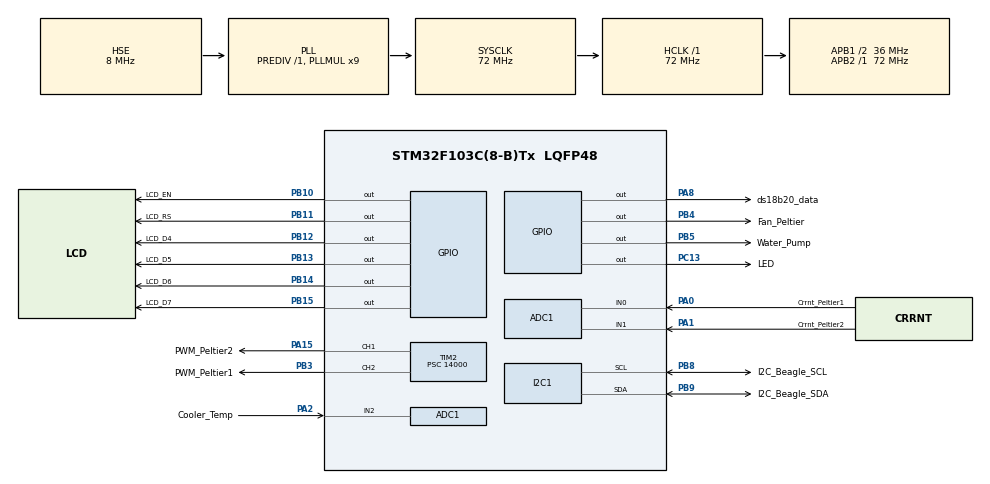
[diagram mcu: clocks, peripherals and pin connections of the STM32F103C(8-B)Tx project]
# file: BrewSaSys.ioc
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ADC1.Channel-2\#ChannelRegularConversion=ADC_CHANNEL_0
ADC1.Channel-3\#ChannelRegularConversion=ADC_CHANNEL_1
ADC1.Channel-4\#ChannelRegularConversion=ADC_CHANNEL_2
ADC1.ContinuousConvMode=ENABLE
ADC1.DataAlign=ADC_DATAALIGN_RIGHT
ADC1.EnableAnalogWatchDog=false
ADC1.EnableRegularConversion=ENABLE
ADC1.ExternalTrigConv=ADC_SOFTWARE_START
ADC1.InjNumberOfConversion=0
ADC1.NbrOfConversion=3
ADC1.NbrOfConversionFlag=1
ADC1.Rank-2\#ChannelRegularConversion=1
ADC1.Rank-3\#ChannelRegularConversion=2
ADC1.Rank-4\#ChannelRegularConversion=3
ADC1.SamplingTime-2\#ChannelRegularConversion=ADC_SAMPLETIME_239CYCLES_5
ADC1.SamplingTime-3\#ChannelRegularConversion=ADC_SAMPLETIME_239CYCLES_5
ADC1.SamplingTime-4\#ChannelRegularConversion=ADC_SAMPLETIME_239CYCLES_5
ADC1.master=1
Dma.ADC1.0.Direction=DMA_PERIPH_TO_MEMORY
Dma.ADC1.0.Instance=DMA1_Channel1
Dma.ADC1.0.MemDataAlignment=DMA_MDATAALIGN_WORD
Dma.ADC1.0.MemInc=DMA_MINC_ENABLE
Dma.ADC1.0.Mode=DMA_CIRCULAR
Dma.ADC1.0.PeriphDataAlignment=DMA_PDATAALIGN_WORD
Dma.ADC1.0.PeriphInc=DMA_PINC_DISABLE
Dma.ADC1.0.Priority=DMA_PRIORITY_LOW
Dma.Request0=ADC1
FREERTOS.INCLUDE_vTaskDelayUntil=1
FREERTOS.MEMORY_ALLOCATION=1
FREERTOS.Tasks01=IdleTask,-3,128,StartIdleTask,Default,NULL,Static,defaultIdleTaskBuffer,defaultIdleTaskControlBlock;Task_2ms,-3,128,StartTask2ms,Default,NULL,Static,myTask2msBuffer,myTask2msControlBlock;Task_5ms,-3,128,StartTask5ms,Default,NULL,Static,myTask5msBuffer,myTask5msControlBlock;Task_10ms,-3,128,StartTask10ms,Default,NULL,Static,myTask10msBuffer,myTask10msControlBlock
Mcu.Family=STM32F1
Mcu.Name=STM32F103C(8-B)Tx
Mcu.Package=LQFP48
NVIC.ADC1_2_IRQn=true\:5\:0\:false\:false\:true\:true\:true\:true
NVIC.DMA1_Channel1_IRQn=true\:5\:0\:false\:false\:true\:true\:false\:true
NVIC.PriorityGroup=NVIC_PRIORITYGROUP_4
NVIC.TIM1_UP_IRQn=true\:0\:0\:false\:false\:true\:false\:false\:true
NVIC.TIM2_IRQn=true\:5\:0\:false\:false\:true\:true\:true\:true
NVIC.TimeBase=TIM1_UP_IRQn
NVIC.TimeBaseIP=TIM1
PA0-WKUP.GPIO_Label=Crrnt_Peltier1
PA0-WKUP.Signal=ADCx_IN0
PA1.GPIO_Label=Crrnt_Peltier2
PA1.Signal=ADCx_IN1
PA13.Mode=Serial_Wire
PA13.Signal=SYS_JTMS-SWDIO
PA14.Mode=Serial_Wire
PA14.Signal=SYS_JTCK-SWCLK
PA15.GPIO_Label=PWM_Peltier2
PA15.Signal=S_TIM2_CH1_ETR
PA2.GPIO_Label=Cooler_Temp
PA2.Signal=ADCx_IN2
PA8.GPIO_Label=ds18b20_data
PA8.GPIO_ModeDefaultOutputPP=GPIO_MODE_OUTPUT_OD
PA8.GPIO_Speed=GPIO_SPEED_FREQ_HIGH
PA8.PinState=GPIO_PIN_SET
PA8.Signal=GPIO_Output
PB10.GPIO_Label=LCD_EN
PB10.Signal=GPIO_Output
PB11.GPIO_Label=LCD_RS
PB11.Signal=GPIO_Output
PB12.GPIO_Label=LCD_D4
PB12.Signal=GPIO_Output
PB13.GPIO_Label=LCD_D5
PB13.Signal=GPIO_Output
PB14.GPIO_Label=LCD_D6
PB14.Signal=GPIO_Output
PB15.GPIO_Label=LCD_D7
PB15.Signal=GPIO_Output
PB3.GPIO_Label=PWM_Peltier1
PB3.Signal=S_TIM2_CH2
PB4.GPIO_Label=Fan_Peltier
PB4.Signal=GPIO_Output
PB5.GPIO_Label=Water_Pump
PB5.Signal=GPIO_Output
PB8.GPIO_Label=I2C_Beagle_SCL
PB8.Mode=I2C
PB8.Signal=I2C1_SCL
PB9.GPIO_Label=I2C_Beagle_SDA
PB9.Mode=I2C
PB9.Signal=I2C1_SDA
PC13-TAMPER-RTC.GPIO_Label=LED
PC13-TAMPER-RTC.Signal=GPIO_Output
PD0-OSC_IN.Mode=HSE-External-Oscillator
PD0-OSC_IN.Signal=RCC_OSC_IN
PD1-OSC_OUT.Mode=HSE-External-Oscillator
PD1-OSC_OUT.Signal=RCC_OSC_OUT
ProjectManager.HeapSize=0x200
ProjectManager.StackSize=0x400
ProjectManager.TargetToolchain=STM32CubeIDE
RCC.ADCPresc=RCC_ADCPCLK2_DIV6
RCC.AHBFreq_Value=72000000
RCC.APB1CLKDivider=RCC_HCLK_DIV2
RCC.APB1Freq_Value=36000000
RCC.APB1TimFreq_Value=72000000
RCC.APB2Freq_Value=72000000
RCC.APB2TimFreq_Value=72000000
RCC.HCLKFreq_Value=72000000
RCC.PLLMUL=RCC_PLL_MUL9
RCC.PLLSourceVirtual=RCC_PLLSOURCE_HSE
RCC.SYSCLKFreq_VALUE=72000000
RCC.SYSCLKSource=RCC_SYSCLKSOURCE_PLLCLK
RCC.USBFreq_Value=72000000
SH.ADCx_IN0.0=ADC1_IN0,IN0
SH.ADCx_IN1.0=ADC1_IN1,IN1
SH.ADCx_IN2.0=ADC1_IN2,IN2
SH.S_TIM2_CH1_ETR.0=TIM2_CH1,PWM Generation1 CH1
SH.S_TIM2_CH2.0=TIM2_CH2,PWM Generation2 CH2
TIM2.Channel-PWM\ Generation1\ CH1=TIM_CHANNEL_1
TIM2.Channel-PWM\ Generation2\ CH2=TIM_CHANNEL_2
TIM2.Period=200-1
TIM2.Prescaler=14000
VP_FREERTOS_VS_CMSIS_V1.Mode=CMSIS_V1
VP_SYS_VS_tim1.Mode=TIM1
board=custom

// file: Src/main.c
/* USER CODE BEGIN Header */
/**
 ******************************************************************************
 * @file           : main.c
 * @brief          : Main program body
 ******************************************************************************
 * @attention
 *
 * <h2><center>&copy; Copyright (c) 2019 STMicroelectronics.
 * All rights reserved.</center></h2>
 *
 * This software component is licensed by ST under BSD 3-Clause license,
 * the "License"; You may not use this file except in compliance with the
 * License. You may obtain a copy of the License at:
 *                        opensource.org/licenses/BSD-3-Clause
 *
 ******************************************************************************
 */
/* USER CODE END Header */

#include "main.h"
#include "cmsis_os.h"

/* USER CODE BEGIN Includes */
#include <stdio.h>
#include <stdlib.h>
#include <string.h>
#include "tm_stm32_delay.h"
#include "tm_stm32_onewire.h"
#include "tm_stm32_ds18b20.h"
#include "tm_stm32_hd44780.h"
/* USER CODE END Includes */

ADC_HandleTypeDef hadc1;
DMA_HandleTypeDef hdma_adc1;

I2C_HandleTypeDef hi2c1;

TIM_HandleTypeDef htim2;

osThreadId IdleTaskHandle;
uint32_t defaultIdleTaskBuffer[ 128 ];
osStaticThreadDef_t defaultIdleTaskControlBlock;
osThreadId Task_2msHandle;
uint32_t myTask2msBuffer[ 128 ];
osStaticThreadDef_t myTask2msControlBlock;
osThreadId Task_5msHandle;
uint32_t myTask5msBuffer[ 128 ];
osStaticThreadDef_t myTask5msControlBlock;
osThreadId Task_10msHandle;
uint32_t myTask10msBuffer[ 128 ];
osStaticThreadDef_t myTask10msControlBlock;
/* USER CODE BEGIN PV */
TM_OneWire_t oneWireDS18B20;
uint8_t DS_ROM[8];
/* Temperature variable */
uint16_t temp;
char buffer[20];
ADC_HandleTypeDef hadc1;
uint32_t valueAdc[3], adc_buffer[3], read_values[3];
GPIO_InitTypeDef GPIO_InitStruct;

uint16_t valuepwm = 20;
/* USER CODE END PV */

void SystemClock_Config(void);
static void MX_GPIO_Init(void);
static void MX_DMA_Init(void);
static void MX_ADC1_Init(void);
static void MX_I2C1_Init(void);
static void MX_TIM2_Init(void);
void StartIdleTask(void const * argument);
void StartTask2ms(void const * argument);
void StartTask5ms(void const * argument);
void StartTask10ms(void const * argument);

/* USER CODE BEGIN 0 */
void HAL_ADC_ConvCpltCallback(ADC_HandleTypeDef* hadc)
{
	if(hadc->Instance == ADC1)
	{
		for(int i=0; i<3; i++)
		{
			valueAdc[i] = adc_buffer[i];
		}
	}
}

void user_pwm_setvalue(uint16_t value)
{
    TIM_OC_InitTypeDef sConfigOC;

    sConfigOC.OCMode = TIM_OCMODE_PWM1;
    sConfigOC.Pulse = value;
    sConfigOC.OCPolarity = TIM_OCPOLARITY_HIGH;
    sConfigOC.OCFastMode = TIM_OCFAST_DISABLE;
    HAL_TIM_PWM_ConfigChannel(&htim2, &sConfigOC, TIM_CHANNEL_2);
    HAL_TIM_PWM_Start(&htim2, TIM_CHANNEL_2);
}
/* USER CODE END 0 */

int main(void)
{

  /* MCU Configuration--------------------------------------------------------*/

  /* Reset of all peripherals, Initializes the Flash interface and the Systick. */
  HAL_Init();

  /* Configure the system clock */
  SystemClock_Config();

  /* Initialize all configured peripherals */
  MX_GPIO_Init();
  MX_DMA_Init();
  MX_ADC1_Init();
  MX_I2C1_Init();
  MX_TIM2_Init();
  /* USER CODE BEGIN 2 */
  TM_OneWire_Init(&oneWireDS18B20, ds18b20_data_GPIO_Port, ds18b20_data_Pin);
  /* Initialize LCD 20 cols x 4 rows */
  TM_HD44780_Init(16, 2);

  if (TM_OneWire_First(&oneWireDS18B20))
  {
  	HAL_GPIO_WritePin(LED_GPIO_Port,LED_Pin,GPIO_PIN_SET);

  	/* Read ROM number */
  	TM_OneWire_GetFullROM(&oneWireDS18B20, DS_ROM);
  }
  else
  {
  	/* Bad Initialization */
  	HAL_GPIO_WritePin(LED_GPIO_Port,LED_Pin,GPIO_PIN_RESET);
  }

  if (TM_DS18B20_Is(DS_ROM)) {
  	/* Set resolution */
  	TM_DS18B20_SetResolution(&oneWireDS18B20, DS_ROM, TM_DS18B20_Resolution_12bits);

  	/* Start conversion on all sensors */
  	TM_DS18B20_StartAll(&oneWireDS18B20);
  }

  HAL_ADC_Start_DMA(&hadc1, adc_buffer, 3);

  GPIO_InitStruct.Pin = PWM_Peltier2_Pin;
  GPIO_InitStruct.Mode = GPIO_MODE_AF_PP;
  GPIO_InitStruct.Speed = GPIO_SPEED_FREQ_LOW;
  HAL_GPIO_Init(PWM_Peltier2_GPIO_Port, &GPIO_InitStruct); // Port A

  GPIO_InitStruct.Pin = PWM_Peltier1_Pin;
  GPIO_InitStruct.Mode = GPIO_MODE_AF_PP;
  GPIO_InitStruct.Speed = GPIO_SPEED_FREQ_LOW;
  HAL_GPIO_Init(PWM_Peltier1_GPIO_Port, &GPIO_InitStruct); // Port B

  HAL_TIM_PWM_Start(&htim2, TIM_CHANNEL_1);
  HAL_TIM_PWM_Start(&htim2, TIM_CHANNEL_2);
  /* USER CODE END 2 */

  /* USER CODE BEGIN RTOS_QUEUES */
  /* add queues, ... */
  /* Save custom character on location 0 in LCD */

  /* Put string to LCD */
  TM_HD44780_Puts(3, 0, "BrewBedded");
  TM_HD44780_Puts(4, 1, "By LeinaD");
  /* USER CODE END RTOS_QUEUES */

  /* Create the thread(s) */
  /* definition and creation of IdleTask */
  osThreadStaticDef(IdleTask, StartIdleTask, osPriorityIdle, 0, 128, defaultIdleTaskBuffer, &defaultIdleTaskControlBlock);
  IdleTaskHandle = osThreadCreate(osThread(IdleTask), NULL);

  /* definition and creation of Task_2ms */
  osThreadStaticDef(Task_2ms, StartTask2ms, osPriorityIdle, 0, 128, myTask2msBuffer, &myTask2msControlBlock);
  Task_2msHandle = osThreadCreate(osThread(Task_2ms), NULL);

  /* definition and creation of Task_5ms */
  osThreadStaticDef(Task_5ms, StartTask5ms, osPriorityIdle, 0, 128, myTask5msBuffer, &myTask5msControlBlock);
  Task_5msHandle = osThreadCreate(osThread(Task_5ms), NULL);

  /* definition and creation of Task_10ms */
  osThreadStaticDef(Task_10ms, StartTask10ms, osPriorityIdle, 0, 128, myTask10msBuffer, &myTask10msControlBlock);
  Task_10msHandle = osThreadCreate(osThread(Task_10ms), NULL);

  /* Start scheduler */
  osKernelStart();

  /* We should never get here as control is now taken by the scheduler */

  /* Infinite loop */
	while (1)
	{

	}
}

void SystemClock_Config(void)
{
  RCC_OscInitTypeDef RCC_OscInitStruct = {0};
  RCC_ClkInitTypeDef RCC_ClkInitStruct = {0};
  RCC_PeriphCLKInitTypeDef PeriphClkInit = {0};

  /** Initializes the CPU, AHB and APB busses clocks
  */
  RCC_OscInitStruct.OscillatorType = RCC_OSCILLATORTYPE_HSE;
  RCC_OscInitStruct.HSEState = RCC_HSE_ON;
  RCC_OscInitStruct.HSEPredivValue = RCC_HSE_PREDIV_DIV1;
  RCC_OscInitStruct.HSIState = RCC_HSI_ON;
  RCC_OscInitStruct.PLL.PLLState = RCC_PLL_ON;
  RCC_OscInitStruct.PLL.PLLSource = RCC_PLLSOURCE_HSE;
  RCC_OscInitStruct.PLL.PLLMUL = RCC_PLL_MUL9;
  if (HAL_RCC_OscConfig(&RCC_OscInitStruct) != HAL_OK)
  {
    Error_Handler();
  }
  /** Initializes the CPU, AHB and APB busses clocks
  */
  RCC_ClkInitStruct.ClockType = RCC_CLOCKTYPE_HCLK|RCC_CLOCKTYPE_SYSCLK
                              |RCC_CLOCKTYPE_PCLK1|RCC_CLOCKTYPE_PCLK2;
  RCC_ClkInitStruct.SYSCLKSource = RCC_SYSCLKSOURCE_PLLCLK;
  RCC_ClkInitStruct.AHBCLKDivider = RCC_SYSCLK_DIV1;
  RCC_ClkInitStruct.APB1CLKDivider = RCC_HCLK_DIV2;
  RCC_ClkInitStruct.APB2CLKDivider = RCC_HCLK_DIV1;

  if (HAL_RCC_ClockConfig(&RCC_ClkInitStruct, FLASH_LATENCY_2) != HAL_OK)
  {
    Error_Handler();
  }
  PeriphClkInit.PeriphClockSelection = RCC_PERIPHCLK_ADC;
  PeriphClkInit.AdcClockSelection = RCC_ADCPCLK2_DIV6;
  if (HAL_RCCEx_PeriphCLKConfig(&PeriphClkInit) != HAL_OK)
  {
    Error_Handler();
  }
}

static void MX_ADC1_Init(void)
{

  ADC_ChannelConfTypeDef sConfig = {0};

  /** Common config
  */
  hadc1.Instance = ADC1;
  hadc1.Init.ScanConvMode = ADC_SCAN_ENABLE;
  hadc1.Init.ContinuousConvMode = ENABLE;
  hadc1.Init.DiscontinuousConvMode = DISABLE;
  hadc1.Init.ExternalTrigConv = ADC_SOFTWARE_START;
  hadc1.Init.DataAlign = ADC_DATAALIGN_RIGHT;
  hadc1.Init.NbrOfConversion = 3;
  if (HAL_ADC_Init(&hadc1) != HAL_OK)
  {
    Error_Handler();
  }
  /** Configure Regular Channel
  */
  sConfig.Channel = ADC_CHANNEL_0;
  sConfig.Rank = ADC_REGULAR_RANK_1;
  sConfig.SamplingTime = ADC_SAMPLETIME_239CYCLES_5;
  if (HAL_ADC_ConfigChannel(&hadc1, &sConfig) != HAL_OK)
  {
    Error_Handler();
  }
  /** Configure Regular Channel
  */
  sConfig.Channel = ADC_CHANNEL_1;
  sConfig.Rank = ADC_REGULAR_RANK_2;
  if (HAL_ADC_ConfigChannel(&hadc1, &sConfig) != HAL_OK)
  {
    Error_Handler();
  }
  /** Configure Regular Channel
  */
  sConfig.Channel = ADC_CHANNEL_2;
  sConfig.Rank = ADC_REGULAR_RANK_3;
  if (HAL_ADC_ConfigChannel(&hadc1, &sConfig) != HAL_OK)
  {
    Error_Handler();
  }

}

static void MX_I2C1_Init(void)
{

  hi2c1.Instance = I2C1;
  hi2c1.Init.ClockSpeed = 100000;
  hi2c1.Init.DutyCycle = I2C_DUTYCYCLE_2;
  hi2c1.Init.OwnAddress1 = 0;
  hi2c1.Init.AddressingMode = I2C_ADDRESSINGMODE_7BIT;
  hi2c1.Init.DualAddressMode = I2C_DUALADDRESS_DISABLE;
  hi2c1.Init.OwnAddress2 = 0;
  hi2c1.Init.GeneralCallMode = I2C_GENERALCALL_DISABLE;
  hi2c1.Init.NoStretchMode = I2C_NOSTRETCH_DISABLE;
  if (HAL_I2C_Init(&hi2c1) != HAL_OK)
  {
    Error_Handler();
  }

}

static void MX_TIM2_Init(void)
{

  TIM_MasterConfigTypeDef sMasterConfig = {0};
  TIM_OC_InitTypeDef sConfigOC = {0};

  htim2.Instance = TIM2;
  htim2.Init.Prescaler = 14000;
  htim2.Init.CounterMode = TIM_COUNTERMODE_UP;
  htim2.Init.Period = 200-1;
  htim2.Init.ClockDivision = TIM_CLOCKDIVISION_DIV1;
  htim2.Init.AutoReloadPreload = TIM_AUTORELOAD_PRELOAD_DISABLE;
  if (HAL_TIM_PWM_Init(&htim2) != HAL_OK)
  {
    Error_Handler();
  }
  sMasterConfig.MasterOutputTrigger = TIM_TRGO_RESET;
  sMasterConfig.MasterSlaveMode = TIM_MASTERSLAVEMODE_DISABLE;
  if (HAL_TIMEx_MasterConfigSynchronization(&htim2, &sMasterConfig) != HAL_OK)
  {
    Error_Handler();
  }
  sConfigOC.OCMode = TIM_OCMODE_PWM1;
  sConfigOC.Pulse = 0;
  sConfigOC.OCPolarity = TIM_OCPOLARITY_HIGH;
  sConfigOC.OCFastMode = TIM_OCFAST_DISABLE;
  if (HAL_TIM_PWM_ConfigChannel(&htim2, &sConfigOC, TIM_CHANNEL_1) != HAL_OK)
  {
    Error_Handler();
  }
  if (HAL_TIM_PWM_ConfigChannel(&htim2, &sConfigOC, TIM_CHANNEL_2) != HAL_OK)
  {
    Error_Handler();
  }
  HAL_TIM_MspPostInit(&htim2);

}

static void MX_DMA_Init(void)
{
  /* DMA controller clock enable */
  __HAL_RCC_DMA1_CLK_ENABLE();

  /* DMA interrupt init */
  /* DMA1_Channel1_IRQn interrupt configuration */
  HAL_NVIC_SetPriority(DMA1_Channel1_IRQn, 5, 0);
  HAL_NVIC_EnableIRQ(DMA1_Channel1_IRQn);

}

static void MX_GPIO_Init(void)
{
  GPIO_InitTypeDef GPIO_InitStruct = {0};

  /* GPIO Ports Clock Enable */
  __HAL_RCC_GPIOC_CLK_ENABLE();
  __HAL_RCC_GPIOD_CLK_ENABLE();
  __HAL_RCC_GPIOA_CLK_ENABLE();
  __HAL_RCC_GPIOB_CLK_ENABLE();

  /*Configure GPIO pin Output Level */
  HAL_GPIO_WritePin(LED_GPIO_Port, LED_Pin, GPIO_PIN_RESET);

  /*Configure GPIO pin Output Level */
  HAL_GPIO_WritePin(GPIOB, LCD_EN_Pin|LCD_RS_Pin|LCD_D4_Pin|LCD_D5_Pin
                          |LCD_D6_Pin|LCD_D7_Pin|Fan_Peltier_Pin|Water_Pump_Pin, GPIO_PIN_RESET);

  /*Configure GPIO pin Output Level */
  HAL_GPIO_WritePin(ds18b20_data_GPIO_Port, ds18b20_data_Pin, GPIO_PIN_SET);

  /*Configure GPIO pin : LED_Pin */
  GPIO_InitStruct.Pin = LED_Pin;
  GPIO_InitStruct.Mode = GPIO_MODE_OUTPUT_PP;
  GPIO_InitStruct.Pull = GPIO_NOPULL;
  GPIO_InitStruct.Speed = GPIO_SPEED_FREQ_LOW;
  HAL_GPIO_Init(LED_GPIO_Port, &GPIO_InitStruct);

  /*Configure GPIO pins : LCD_EN_Pin LCD_RS_Pin LCD_D4_Pin LCD_D5_Pin
                           LCD_D6_Pin LCD_D7_Pin Fan_Peltier_Pin Water_Pump_Pin */
  GPIO_InitStruct.Pin = LCD_EN_Pin|LCD_RS_Pin|LCD_D4_Pin|LCD_D5_Pin
                          |LCD_D6_Pin|LCD_D7_Pin|Fan_Peltier_Pin|Water_Pump_Pin;
  GPIO_InitStruct.Mode = GPIO_MODE_OUTPUT_PP;
  GPIO_InitStruct.Pull = GPIO_NOPULL;
  GPIO_InitStruct.Speed = GPIO_SPEED_FREQ_LOW;
  HAL_GPIO_Init(GPIOB, &GPIO_InitStruct);

  /*Configure GPIO pin : ds18b20_data_Pin */
  GPIO_InitStruct.Pin = ds18b20_data_Pin;
  GPIO_InitStruct.Mode = GPIO_MODE_OUTPUT_OD;
  GPIO_InitStruct.Pull = GPIO_NOPULL;
  GPIO_InitStruct.Speed = GPIO_SPEED_FREQ_HIGH;
  HAL_GPIO_Init(ds18b20_data_GPIO_Port, &GPIO_InitStruct);

}

void StartIdleTask(void const * argument)
{

  for(;;)
  {
  }
}

void StartTask2ms(void const * argument)
{
  /* USER CODE BEGIN StartTask2ms */
	TickType_t xLastWakeTime;
	const TickType_t xFrequency = 2;

	// Initialize the xLastWakeTime variable with the current time.
	xLastWakeTime = xTaskGetTickCount();

	for( ;; )
	{
		// Wait for the next cycle.
		vTaskDelayUntil( &xLastWakeTime, xFrequency );

		// Perform action here.
	}
  /* USER CODE END StartTask2ms */
}

void StartTask5ms(void const * argument)
{
  /* USER CODE BEGIN StartTask5ms */
	TickType_t xLastWakeTime;
	const TickType_t xFrequency = 5;

	// Initialize the xLastWakeTime variable with the current time.
	xLastWakeTime = xTaskGetTickCount();

	for( ;; )
	{
		// Wait for the next cycle.
		vTaskDelayUntil( &xLastWakeTime, xFrequency );

		// Perform action here.
	}
  /* USER CODE END StartTask5ms */
}

void StartTask10ms(void const * argument)
{
  /* USER CODE BEGIN StartTask10ms */
	TickType_t xLastWakeTime;
	const TickType_t xFrequency = 10;
	static uint8_t cnt100ms=0;

	// Initialize the xLastWakeTime variable with the current time.
	xLastWakeTime = xTaskGetTickCount();

	TM_HD44780_Clear();

	for( ;; )
	{
		// Wait for the next cycle.
		vTaskDelayUntil( &xLastWakeTime, xFrequency );

		if(cnt100ms > 100)
		{

			user_pwm_setvalue(valuepwm);
			if (TM_DS18B20_Is(DS_ROM))
			{
				/* Everything is done */
				if (TM_DS18B20_AllDone(&oneWireDS18B20))
				{
					/* Read temperature from device */
					if (TM_DS18B20_Read(&oneWireDS18B20, DS_ROM, &temp))
					{
						/* Temp read OK, CRC is OK */
						HAL_GPIO_WritePin(LED_GPIO_Port,LED_Pin,GPIO_PIN_SET);
						/* Start again on all sensors */
						TM_DS18B20_StartAll(&oneWireDS18B20);

						TM_HD44780_Puts(0, 0, "TempAgua: ");
						itoa(temp,buffer,10);
						TM_HD44780_Puts(10, 0, buffer);
						TM_HD44780_Puts(13, 0, "C");

					}
					else
					{
						/* CRC failed, hardware problems on data line */
						HAL_GPIO_WritePin(LED_GPIO_Port,LED_Pin,GPIO_PIN_RESET);
					}
				}
			}
			itoa(valueAdc[0],buffer,10);
			TM_HD44780_Puts(0, 1, buffer);

			valueAdc[1] = valueAdc[1]/10;

			itoa(valueAdc[1],buffer,10);
			TM_HD44780_Puts(6, 1, buffer);

			itoa(valueAdc[2],buffer,10);
			TM_HD44780_Puts(13, 1, buffer);

			cnt100ms = 0;
		}
		else
		{
			cnt100ms++;
		}
	}

  /* USER CODE END StartTask10ms */
}

void HAL_TIM_PeriodElapsedCallback(TIM_HandleTypeDef *htim)
{
  if (htim->Instance == TIM1) {
    HAL_IncTick();
  }
}

void Error_Handler(void)
{
}

/************************ (C) COPYRIGHT STMicroelectronics *****END OF FILE****/
